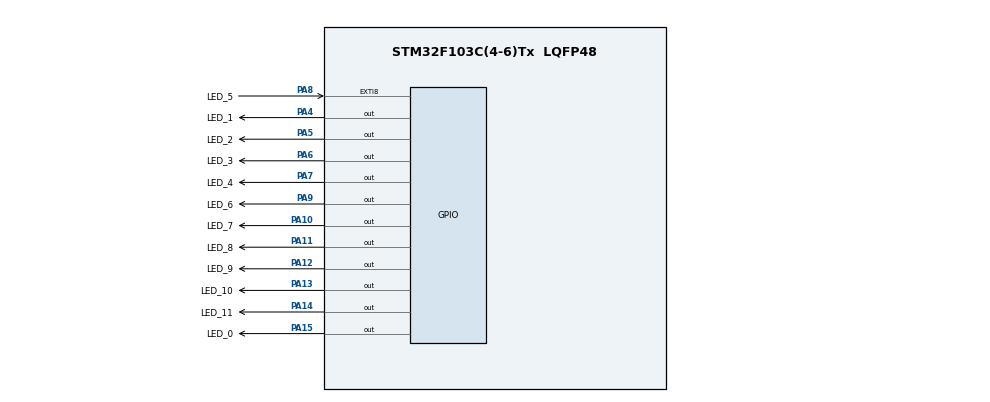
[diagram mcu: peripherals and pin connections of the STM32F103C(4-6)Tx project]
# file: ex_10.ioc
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Mcu.Family=STM32F1
Mcu.Name=STM32F103C(4-6)Tx
Mcu.Package=LQFP48
NVIC.PriorityGroup=NVIC_PRIORITYGROUP_4
PA10.GPIO_Label=LED_7
PA10.Signal=GPIO_Output
PA11.GPIO_Label=LED_8
PA11.Signal=GPIO_Output
PA12.GPIO_Label=LED_9
PA12.Signal=GPIO_Output
PA13.GPIO_Label=LED_10
PA13.Signal=GPIO_Output
PA14.GPIO_Label=LED_11
PA14.Signal=GPIO_Output
PA15.GPIO_Label=LED_0
PA15.Signal=GPIO_Output
PA4.GPIO_Label=LED_1
PA4.Signal=GPIO_Output
PA5.GPIO_Label=LED_2
PA5.Signal=GPIO_Output
PA6.GPIO_Label=LED_3
PA6.Signal=GPIO_Output
PA7.GPIO_Label=LED_4
PA7.Signal=GPIO_Output
PA8.GPIO_Label=LED_5
PA8.Signal=GPXTI8
PA9.GPIO_Label=LED_6
PA9.Signal=GPIO_Output
ProjectManager.HeapSize=0x200
ProjectManager.StackSize=0x400
ProjectManager.TargetToolchain=STM32CubeIDE
RCC.APB1Freq_Value=8000000
RCC.APB2Freq_Value=8000000
board=custom

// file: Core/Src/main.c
/* USER CODE BEGIN Header */
/**
  ******************************************************************************
  * @file           : main.c
  * @brief          : Main program body
  ******************************************************************************
  * @attention
  *
  * Copyright (c) 2023 STMicroelectronics.
  * All rights reserved.
  *
  * This software is licensed under terms that can be found in the LICENSE file
  * in the root directory of this software component.
  * If no LICENSE file comes with this software, it is provided AS-IS.
  *
  ******************************************************************************
  */
/* USER CODE END Header */
#include "main.h"

void SystemClock_Config(void);
static void MX_GPIO_Init(void);

int main(void)
{

  /* MCU Configuration--------------------------------------------------------*/

  /* Reset of all peripherals, Initializes the Flash interface and the Systick. */
  HAL_Init();

  /* Configure the system clock */
  SystemClock_Config();

  /* Initialize all configured peripherals */
  MX_GPIO_Init();

  /* Infinite loop */
  /* USER CODE BEGIN WHILE */
  void TurnLED1() {
	  HAL_GPIO_WritePin(LED_1_GPIO_Port, LED_1_Pin, RESET);
  }
  void TurnLED2() {
  	  HAL_GPIO_WritePin(LED_2_GPIO_Port, LED_2_Pin, RESET);
    }
  void TurnLED3() {
  	  HAL_GPIO_WritePin(LED_3_GPIO_Port, LED_3_Pin, RESET);
    }
void TurnLED4() {
  	  HAL_GPIO_WritePin(LED_4_GPIO_Port, LED_4_Pin, RESET);
    }
  void TurnLED5() {
  	  HAL_GPIO_WritePin(LED_5_GPIO_Port, LED_5_Pin, RESET);
    }
  void TurnLED6() {
  	  HAL_GPIO_WritePin(LED_6_GPIO_Port, LED_6_Pin, RESET);
    }
  void TurnLED7() {
	  HAL_GPIO_WritePin(LED_7_GPIO_Port, LED_7_Pin, RESET);
      }
  void TurnLED8() {
	  HAL_GPIO_WritePin(LED_8_GPIO_Port, LED_8_Pin, RESET);
        }
  void TurnLED9() {
	  HAL_GPIO_WritePin(LED_9_GPIO_Port, LED_9_Pin, RESET);
        }
  void TurnLED10() {
	  HAL_GPIO_WritePin(LED_10_GPIO_Port, LED_10_Pin, RESET);
        }
  void TurnLED11() {
	  HAL_GPIO_WritePin(LED_11_GPIO_Port, LED_11_Pin, RESET);
          }
  void TurnLED0() {
	  HAL_GPIO_WritePin(LED_0_GPIO_Port, LED_0_Pin, RESET);
          }
  void clearAllClock() {
	  HAL_GPIO_WritePin(LED_1_GPIO_Port, LED_1_Pin, SET);
	  HAL_GPIO_WritePin(LED_2_GPIO_Port, LED_2_Pin, SET);
	  HAL_GPIO_WritePin(LED_3_GPIO_Port, LED_3_Pin, SET);
	  HAL_GPIO_WritePin(LED_4_GPIO_Port, LED_4_Pin, SET);
	  HAL_GPIO_WritePin(LED_5_GPIO_Port, LED_5_Pin, SET);
	  HAL_GPIO_WritePin(LED_6_GPIO_Port, LED_6_Pin, SET);
	  HAL_GPIO_WritePin(LED_7_GPIO_Port, LED_7_Pin, SET);
	  HAL_GPIO_WritePin(LED_8_GPIO_Port, LED_8_Pin, SET);
	  HAL_GPIO_WritePin(LED_9_GPIO_Port, LED_9_Pin, SET);
	  HAL_GPIO_WritePin(LED_10_GPIO_Port, LED_10_Pin, SET);
	  HAL_GPIO_WritePin(LED_11_GPIO_Port, LED_11_Pin, SET);
	  HAL_GPIO_WritePin(LED_0_GPIO_Port, LED_0_Pin, SET);
  }
  void clearNumberOnClock(int num) {
	  switch(num) {
	  case 0:
		  HAL_GPIO_WritePin(LED_0_GPIO_Port, LED_0_Pin, SET);
		  break;
	  case 1:
		  HAL_GPIO_WritePin(LED_1_GPIO_Port, LED_1_Pin, SET);
		  break;
	  case 2:
		  HAL_GPIO_WritePin(LED_2_GPIO_Port, LED_2_Pin, SET);
		  break;
	  case 3:
		  HAL_GPIO_WritePin(LED_3_GPIO_Port, LED_3_Pin, SET);
		  break;
	  case 4:
		  HAL_GPIO_WritePin(LED_4_GPIO_Port, LED_4_Pin, SET);
		  break;
	  case 5:
		  HAL_GPIO_WritePin(LED_5_GPIO_Port, LED_5_Pin, SET);
		  break;
	  case 6:
		  HAL_GPIO_WritePin(LED_6_GPIO_Port, LED_6_Pin, SET);
		  break;
	  case 7:
		  HAL_GPIO_WritePin(LED_7_GPIO_Port, LED_7_Pin, SET);
		  break;
	  case 8:
		  HAL_GPIO_WritePin(LED_8_GPIO_Port, LED_8_Pin, SET);
		  break;
	  case 9:
		  HAL_GPIO_WritePin(LED_9_GPIO_Port, LED_9_Pin, SET);
		  break;
	  case 10:
		  HAL_GPIO_WritePin(LED_10_GPIO_Port, LED_10_Pin, SET);
		  break;
	  case 11:
		  HAL_GPIO_WritePin(LED_11_GPIO_Port, LED_11_Pin, SET);
		  break;
	  default:
		  clearAllClock();
		  break;
	  }
  }
  void setNumberOnClock(int num) {
	  switch(num){
	  case 1:
		  TurnLED1();
		  break;
	  case 2:
		  TurnLED2();
		  break;
	  case 3:
		  TurnLED3();
		  break;
	  case 4:
		  TurnLED4();
		  break;
	  case 5:
		  TurnLED5();
		  break;
	  case 6:
		  TurnLED6();
		  break;
	  case 7:
		  TurnLED7();
		  break;
	  case 8:
		  TurnLED8();
		  break;
	  case 9:
		  TurnLED9();
		  break;
	  case 10:
		  TurnLED10();
		  break;
	  case 11:
		  TurnLED11();
		  break;
	  case 0:
		  TurnLED0();
		  break;
	  default:
		  clearAllClock();
		  break;
	  }
  }
#define DELAY 10
  int time_counter = 0;
  int countSecond = 0;
  int countMinute = 0;
  int countHour = 0;
  clearAllClock();
  TurnLED0();
  while (1)
  {
	  if(time_counter > 0) {
		  time_counter--;
	  }else {
		  countSecond++;
		  if(countSecond > 59) {
			  countSecond = 0;
			  countMinute++;
			  if(countMinute > 59) {
				  countMinute = 0;
				  countHour++;
				  if(countHour > 59) {
					  countHour = 0;
				  }
			  }
		  }
		  clearAllClock();
		  setNumberOnClock(countSecond/5);
		  setNumberOnClock(countMinute/5);
		  setNumberOnClock(countHour/5);
		  time_counter = 100;
	  }
	  HAL_Delay(DELAY);
    /* USER CODE END WHILE */

  }
}

void SystemClock_Config(void)
{
  RCC_OscInitTypeDef RCC_OscInitStruct = {0};
  RCC_ClkInitTypeDef RCC_ClkInitStruct = {0};

  /** Initializes the RCC Oscillators according to the specified parameters
  * in the RCC_OscInitTypeDef structure.
  */
  RCC_OscInitStruct.OscillatorType = RCC_OSCILLATORTYPE_HSI;
  RCC_OscInitStruct.HSIState = RCC_HSI_ON;
  RCC_OscInitStruct.HSICalibrationValue = RCC_HSICALIBRATION_DEFAULT;
  RCC_OscInitStruct.PLL.PLLState = RCC_PLL_NONE;
  if (HAL_RCC_OscConfig(&RCC_OscInitStruct) != HAL_OK)
  {
    Error_Handler();
  }

  /** Initializes the CPU, AHB and APB buses clocks
  */
  RCC_ClkInitStruct.ClockType = RCC_CLOCKTYPE_HCLK|RCC_CLOCKTYPE_SYSCLK
                              |RCC_CLOCKTYPE_PCLK1|RCC_CLOCKTYPE_PCLK2;
  RCC_ClkInitStruct.SYSCLKSource = RCC_SYSCLKSOURCE_HSI;
  RCC_ClkInitStruct.AHBCLKDivider = RCC_SYSCLK_DIV1;
  RCC_ClkInitStruct.APB1CLKDivider = RCC_HCLK_DIV1;
  RCC_ClkInitStruct.APB2CLKDivider = RCC_HCLK_DIV1;

  if (HAL_RCC_ClockConfig(&RCC_ClkInitStruct, FLASH_LATENCY_0) != HAL_OK)
  {
    Error_Handler();
  }
}

static void MX_GPIO_Init(void)
{
  GPIO_InitTypeDef GPIO_InitStruct = {0};

  /* GPIO Ports Clock Enable */
  __HAL_RCC_GPIOA_CLK_ENABLE();

  /*Configure GPIO pin Output Level */
  HAL_GPIO_WritePin(GPIOA, LED_1_Pin|LED_2_Pin|LED_3_Pin|LED_4_Pin
                          |LED_5_Pin|LED_6_Pin|LED_7_Pin|LED_8_Pin
                          |LED_9_Pin|LED_10_Pin|LED_11_Pin|LED_0_Pin, GPIO_PIN_RESET);

  /*Configure GPIO pins : LED_1_Pin LED_2_Pin LED_3_Pin LED_4_Pin
                           LED_5_Pin LED_6_Pin LED_7_Pin LED_8_Pin
                           LED_9_Pin LED_10_Pin LED_11_Pin LED_0_Pin */
  GPIO_InitStruct.Pin = LED_1_Pin|LED_2_Pin|LED_3_Pin|LED_4_Pin
                          |LED_5_Pin|LED_6_Pin|LED_7_Pin|LED_8_Pin
                          |LED_9_Pin|LED_10_Pin|LED_11_Pin|LED_0_Pin;
  GPIO_InitStruct.Mode = GPIO_MODE_OUTPUT_PP;
  GPIO_InitStruct.Pull = GPIO_NOPULL;
  GPIO_InitStruct.Speed = GPIO_SPEED_FREQ_LOW;
  HAL_GPIO_Init(GPIOA, &GPIO_InitStruct);

}

void Error_Handler(void)
{
  __disable_irq();
  while (1)
  {
  }
}
